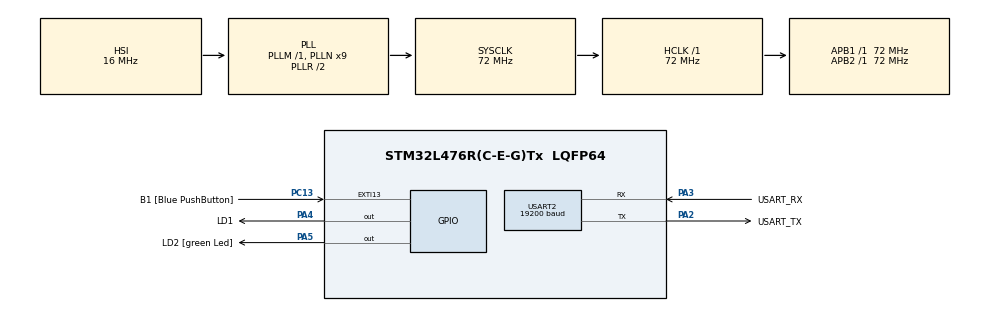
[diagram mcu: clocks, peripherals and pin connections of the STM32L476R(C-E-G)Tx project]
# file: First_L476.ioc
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Mcu.Family=STM32L4
Mcu.Name=STM32L476R(C-E-G)Tx
Mcu.Package=LQFP64
NVIC.PriorityGroup=NVIC_PRIORITYGROUP_4
NVIC.TIM2_IRQn=true\:0\:0\:false\:true\:true\:1\:true\:true
NVIC.USART2_IRQn=true\:0\:0\:false\:true\:true\:2\:true\:true
PA13\ (JTMS-SWDIO).GPIO_Label=TMS
PA13\ (JTMS-SWDIO).Mode=Serial_Wire
PA13\ (JTMS-SWDIO).Signal=SYS_JTMS-SWDIO
PA14\ (JTCK-SWCLK).GPIO_Label=TCK
PA14\ (JTCK-SWCLK).Mode=Serial_Wire
PA14\ (JTCK-SWCLK).Signal=SYS_JTCK-SWCLK
PA2.GPIO_Label=USART_TX
PA2.GPIO_Mode=GPIO_MODE_AF_PP
PA2.GPIO_PuPd=GPIO_NOPULL
PA2.GPIO_Speed=GPIO_SPEED_FREQ_VERY_HIGH
PA2.Mode=Asynchronous
PA2.Signal=USART2_TX
PA3.GPIO_Label=USART_RX
PA3.GPIO_Mode=GPIO_MODE_AF_PP
PA3.GPIO_PuPd=GPIO_NOPULL
PA3.GPIO_Speed=GPIO_SPEED_FREQ_VERY_HIGH
PA3.Mode=Asynchronous
PA3.Signal=USART2_RX
PA4.GPIO_Label=LD1
PA4.Signal=GPIO_Output
PA5.GPIO_Label=LD2 [green Led]
PA5.GPIO_ModeDefaultOutputPP=GPIO_MODE_OUTPUT_PP
PA5.GPIO_PuPd=GPIO_NOPULL
PA5.GPIO_Speed=GPIO_SPEED_FREQ_LOW
PA5.Signal=GPIO_Output
PB3\ (JTDO-TRACESWO).GPIO_Label=SWO
PB3\ (JTDO-TRACESWO).Signal=SYS_JTDO-SWO
PC13.GPIO_Label=B1 [Blue PushButton]
PC13.GPIO_ModeDefaultEXTI=GPIO_MODE_IT_FALLING
PC13.GPIO_PuPd=GPIO_NOPULL
PC13.Signal=GPXTI13
PC14-OSC32_IN\ (PC14).Signal=RCC_OSC32_IN
PC15-OSC32_OUT\ (PC15).Signal=RCC_OSC32_OUT
PH0-OSC_IN\ (PH0).Signal=RCC_OSC_IN
PH1-OSC_OUT\ (PH1).Signal=RCC_OSC_OUT
ProjectManager.HeapSize=0x200
ProjectManager.StackSize=0x400
ProjectManager.TargetToolchain=STM32CubeIDE
RCC.ADCFreq_Value=64000000
RCC.AHBFreq_Value=72000000
RCC.APB1Freq_Value=72000000
RCC.APB1TimFreq_Value=72000000
RCC.APB2Freq_Value=72000000
RCC.APB2TimFreq_Value=72000000
RCC.CortexFreq_Value=72000000
RCC.HCLKFreq_Value=72000000
RCC.HSE_VALUE=8000000
RCC.HSI_VALUE=16000000
RCC.MSI_VALUE=4000000
RCC.PLLN=9
RCC.PLLSourceVirtual=RCC_PLLSOURCE_HSI
RCC.PREFETCH_ENABLE=1
RCC.SYSCLKFreq_VALUE=72000000
RCC.SYSCLKSource=RCC_SYSCLKSOURCE_PLLCLK
RCC.USBFreq_Value=64000000
RCC.VCOOutputFreq_Value=144000000
RTC.Date=2
RTC.Format=RTC_FORMAT_BIN
RTC.Month=RTC_MONTH_MAY
TIM2.Period=24
TIM2.Prescaler=149
USART2.BaudRate=19200
USART2.StopBits=STOPBITS_1
USART2.VirtualMode-Asynchronous=VM_ASYNC
VP_RTC_VS_RTC_Activate.Mode=RTC_Enabled
VP_RTC_VS_RTC_Calendar.Mode=RTC_Calendar
VP_TIM2_VS_ClockSourceINT.Mode=Internal
board=NUCLEO-L476RG

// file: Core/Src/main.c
/* USER CODE BEGIN Header */
/**
  ******************************************************************************
  * @file           : main.c
  * @brief          : Main program body
  ******************************************************************************
  * @attention
  *
  * <h2><center>&copy; Copyright (c) 2023 STMicroelectronics.
  * All rights reserved.</center></h2>
  *
  * This software component is licensed by ST under BSD 3-Clause license,
  * the "License"; You may not use this file except in compliance with the
  * License. You may obtain a copy of the License at:
  *                        opensource.org/licenses/BSD-3-Clause
  *
  ******************************************************************************
  */
/* USER CODE END Header */
#include "main.h"

RTC_HandleTypeDef hrtc;

TIM_HandleTypeDef htim2;

UART_HandleTypeDef huart2;

/* USER CODE BEGIN PV */
// SysTick section variables (str_systick.h) ---------------------------------
int32_t test_cnt = 0;
bool flag_cnt_sys_tick = false;

// Tim section variables (str_tim.h) -----------------------------------------
#ifdef STR_TESTONLY
int32_t test_cnt_tim = 0;
bool flag_cnt_tim_tick = false;	// Управляет стартом отправки в uart2
#endif
/* USER CODE END PV */

void SystemClock_Config(void);
static void MX_GPIO_Init(void);
static void MX_USART2_UART_Init(void);
static void MX_RTC_Init(void);
static void MX_TIM2_Init(void);
static void MX_NVIC_Init(void);

int main(void)
{

  /* MCU Configuration--------------------------------------------------------*/

  /* Reset of all peripherals, Initializes the Flash interface and the Systick. */
  HAL_Init();

  /* Configure the system clock */
  SystemClock_Config();

  /* Initialize all configured peripherals */
  MX_GPIO_Init();
  MX_USART2_UART_Init();
  MX_RTC_Init();
  MX_TIM2_Init();

  /* Initialize interrupts */
  MX_NVIC_Init();
  /* USER CODE BEGIN 2 */
  Start_Tim_Base_IT();
  Start_Uart_Receive_IT();
  /* USER CODE END 2 */

  /* Infinite loop */
  /* USER CODE BEGIN WHILE */
  Flash_Info();

#ifdef FIFO_MODULE_ENABLE
  Fifo_New();
#endif

  InitRegsHld();
  InitRegsInp();
  InitMBslave();
  Init_LedBlinkTime(500);

  int16_t count_waiter = 0;

  while (1)
  {
#ifdef STR_LEDBLINK
	LedBlinkTime();
#endif

#ifndef STR_TESTONLY
	MBwork();
#endif

#ifdef STR_TESTONLY
    TestUart(&flag_cnt_tim_tick);
#endif

#ifdef STR_MODIFYREGISTERS
	ModifyMainRegisters();
#endif

    /* USER CODE END WHILE */

    /* USER CODE BEGIN 3 */

	if(count_waiter > 5000)
	{
		inp.st.inp0 = Generator_Saw(100, 0, 1);
		inp.st.inp1 = inp.st.inp0 * 2;
		count_waiter = 0;
	}
	count_waiter += 1;

  }
  /* USER CODE END 3 */
}

void SystemClock_Config(void)
{
  RCC_OscInitTypeDef RCC_OscInitStruct = {0};
  RCC_ClkInitTypeDef RCC_ClkInitStruct = {0};

  /** Configure the main internal regulator output voltage
  */
  if (HAL_PWREx_ControlVoltageScaling(PWR_REGULATOR_VOLTAGE_SCALE1) != HAL_OK)
  {
    Error_Handler();
  }
  /** Initializes the RCC Oscillators according to the specified parameters
  * in the RCC_OscInitTypeDef structure.
  */
  RCC_OscInitStruct.OscillatorType = RCC_OSCILLATORTYPE_HSI|RCC_OSCILLATORTYPE_LSI;
  RCC_OscInitStruct.HSIState = RCC_HSI_ON;
  RCC_OscInitStruct.HSICalibrationValue = RCC_HSICALIBRATION_DEFAULT;
  RCC_OscInitStruct.LSIState = RCC_LSI_ON;
  RCC_OscInitStruct.PLL.PLLState = RCC_PLL_ON;
  RCC_OscInitStruct.PLL.PLLSource = RCC_PLLSOURCE_HSI;
  RCC_OscInitStruct.PLL.PLLM = 1;
  RCC_OscInitStruct.PLL.PLLN = 9;
  RCC_OscInitStruct.PLL.PLLP = RCC_PLLP_DIV7;
  RCC_OscInitStruct.PLL.PLLQ = RCC_PLLQ_DIV2;
  RCC_OscInitStruct.PLL.PLLR = RCC_PLLR_DIV2;
  if (HAL_RCC_OscConfig(&RCC_OscInitStruct) != HAL_OK)
  {
    Error_Handler();
  }
  /** Initializes the CPU, AHB and APB buses clocks
  */
  RCC_ClkInitStruct.ClockType = RCC_CLOCKTYPE_HCLK|RCC_CLOCKTYPE_SYSCLK
                              |RCC_CLOCKTYPE_PCLK1|RCC_CLOCKTYPE_PCLK2;
  RCC_ClkInitStruct.SYSCLKSource = RCC_SYSCLKSOURCE_PLLCLK;
  RCC_ClkInitStruct.AHBCLKDivider = RCC_SYSCLK_DIV1;
  RCC_ClkInitStruct.APB1CLKDivider = RCC_HCLK_DIV1;
  RCC_ClkInitStruct.APB2CLKDivider = RCC_HCLK_DIV1;

  if (HAL_RCC_ClockConfig(&RCC_ClkInitStruct, FLASH_LATENCY_4) != HAL_OK)
  {
    Error_Handler();
  }
}

/**
  * @brief NVIC Configuration.
  * @retval None
  */
static void MX_NVIC_Init(void)
{
  /* TIM2_IRQn interrupt configuration */
  HAL_NVIC_SetPriority(TIM2_IRQn, 0, 0);
  HAL_NVIC_EnableIRQ(TIM2_IRQn);
  /* USART2_IRQn interrupt configuration */
  HAL_NVIC_SetPriority(USART2_IRQn, 0, 0);
  HAL_NVIC_EnableIRQ(USART2_IRQn);
}

static void MX_RTC_Init(void)
{

  RTC_TimeTypeDef sTime = {0};
  RTC_DateTypeDef sDate = {0};

  /** Initialize RTC Only
  */
  hrtc.Instance = RTC;
  hrtc.Init.HourFormat = RTC_HOURFORMAT_24;
  hrtc.Init.AsynchPrediv = 127;
  hrtc.Init.SynchPrediv = 255;
  hrtc.Init.OutPut = RTC_OUTPUT_DISABLE;
  hrtc.Init.OutPutRemap = RTC_OUTPUT_REMAP_NONE;
  hrtc.Init.OutPutPolarity = RTC_OUTPUT_POLARITY_HIGH;
  hrtc.Init.OutPutType = RTC_OUTPUT_TYPE_OPENDRAIN;
  if (HAL_RTC_Init(&hrtc) != HAL_OK)
  {
    Error_Handler();
  }

  /** Initialize RTC and set the Time and Date
  */
  sTime.Hours = 0;
  sTime.Minutes = 0;
  sTime.Seconds = 0;
  sTime.DayLightSaving = RTC_DAYLIGHTSAVING_NONE;
  sTime.StoreOperation = RTC_STOREOPERATION_RESET;
  if (HAL_RTC_SetTime(&hrtc, &sTime, RTC_FORMAT_BIN) != HAL_OK)
  {
    Error_Handler();
  }
  sDate.WeekDay = RTC_WEEKDAY_MONDAY;
  sDate.Month = RTC_MONTH_MAY;
  sDate.Date = 2;
  sDate.Year = 0;

  if (HAL_RTC_SetDate(&hrtc, &sDate, RTC_FORMAT_BIN) != HAL_OK)
  {
    Error_Handler();
  }

}

static void MX_TIM2_Init(void)
{

  TIM_ClockConfigTypeDef sClockSourceConfig = {0};
  TIM_MasterConfigTypeDef sMasterConfig = {0};

  htim2.Instance = TIM2;
  htim2.Init.Prescaler = 149;
  htim2.Init.CounterMode = TIM_COUNTERMODE_UP;
  htim2.Init.Period = 24;
  htim2.Init.ClockDivision = TIM_CLOCKDIVISION_DIV1;
  htim2.Init.AutoReloadPreload = TIM_AUTORELOAD_PRELOAD_DISABLE;
  if (HAL_TIM_Base_Init(&htim2) != HAL_OK)
  {
    Error_Handler();
  }
  sClockSourceConfig.ClockSource = TIM_CLOCKSOURCE_INTERNAL;
  if (HAL_TIM_ConfigClockSource(&htim2, &sClockSourceConfig) != HAL_OK)
  {
    Error_Handler();
  }
  sMasterConfig.MasterOutputTrigger = TIM_TRGO_RESET;
  sMasterConfig.MasterSlaveMode = TIM_MASTERSLAVEMODE_DISABLE;
  if (HAL_TIMEx_MasterConfigSynchronization(&htim2, &sMasterConfig) != HAL_OK)
  {
    Error_Handler();
  }

}

static void MX_USART2_UART_Init(void)
{

  huart2.Instance = USART2;
  huart2.Init.BaudRate = 19200;
  huart2.Init.WordLength = UART_WORDLENGTH_8B;
  huart2.Init.StopBits = UART_STOPBITS_1;
  huart2.Init.Parity = UART_PARITY_NONE;
  huart2.Init.Mode = UART_MODE_TX_RX;
  huart2.Init.HwFlowCtl = UART_HWCONTROL_NONE;
  huart2.Init.OverSampling = UART_OVERSAMPLING_16;
  huart2.Init.OneBitSampling = UART_ONE_BIT_SAMPLE_DISABLE;
  huart2.AdvancedInit.AdvFeatureInit = UART_ADVFEATURE_NO_INIT;
  if (HAL_UART_Init(&huart2) != HAL_OK)
  {
    Error_Handler();
  }

}

static void MX_GPIO_Init(void)
{
  GPIO_InitTypeDef GPIO_InitStruct = {0};

  /* GPIO Ports Clock Enable */
  __HAL_RCC_GPIOC_CLK_ENABLE();
  __HAL_RCC_GPIOH_CLK_ENABLE();
  __HAL_RCC_GPIOA_CLK_ENABLE();
  __HAL_RCC_GPIOB_CLK_ENABLE();

  /*Configure GPIO pin Output Level */
  HAL_GPIO_WritePin(GPIOA, LD1_Pin|LD2_Pin, GPIO_PIN_RESET);

  /*Configure GPIO pin : B1_Pin */
  GPIO_InitStruct.Pin = B1_Pin;
  GPIO_InitStruct.Mode = GPIO_MODE_IT_FALLING;
  GPIO_InitStruct.Pull = GPIO_NOPULL;
  HAL_GPIO_Init(B1_GPIO_Port, &GPIO_InitStruct);

  /*Configure GPIO pins : LD1_Pin LD2_Pin */
  GPIO_InitStruct.Pin = LD1_Pin|LD2_Pin;
  GPIO_InitStruct.Mode = GPIO_MODE_OUTPUT_PP;
  GPIO_InitStruct.Pull = GPIO_NOPULL;
  GPIO_InitStruct.Speed = GPIO_SPEED_FREQ_LOW;
  HAL_GPIO_Init(GPIOA, &GPIO_InitStruct);

}

void Error_Handler(void)
{
  __disable_irq();
  while (1)
  {
  }
}

/************************ (C) COPYRIGHT STMicroelectronics *****END OF FILE****/
